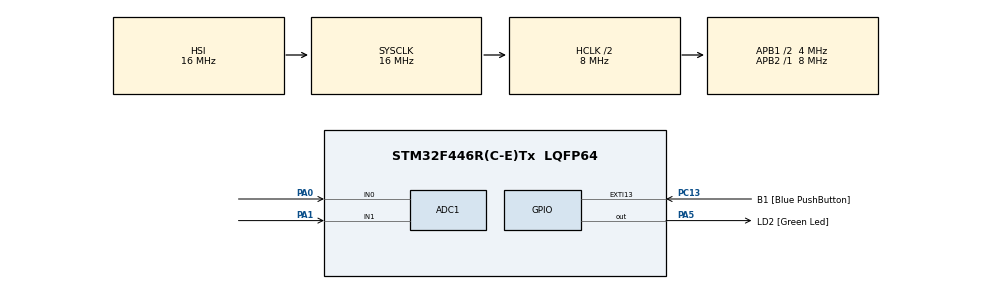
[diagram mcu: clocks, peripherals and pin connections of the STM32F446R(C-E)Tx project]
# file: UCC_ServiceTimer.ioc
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ADC1.Channel-1\#ChannelRegularConversion=ADC_CHANNEL_0
ADC1.ContinuousConvMode=DISABLE
ADC1.DiscontinuousConvMode=DISABLE
ADC1.EnableAnalogWatchDog=true
ADC1.InjNumberOfConversion=0
ADC1.NbrOfConversion=1
ADC1.NbrOfConversionFlag=1
ADC1.Rank-1\#ChannelRegularConversion=1
ADC1.SamplingTime-1\#ChannelRegularConversion=ADC_SAMPLETIME_3CYCLES
ADC1.ScanConvMode=ENABLE
ADC1.master=1
Mcu.Family=STM32F4
Mcu.Name=STM32F446R(C-E)Tx
Mcu.Package=LQFP64
NVIC.ADC_IRQn=true\:0\:0\:false\:false\:true\:true\:true\:true
NVIC.EXTI15_10_IRQn=true\:0\:0\:false\:false\:true\:true\:true\:true
NVIC.PriorityGroup=NVIC_PRIORITYGROUP_0
NVIC.TIM2_IRQn=true\:0\:0\:false\:false\:true\:true\:true\:true
PA0-WKUP.Signal=ADCx_IN0
PA1.Signal=ADCx_IN1
PA13.GPIO_Label=TMS
PA13.Mode=Serial_Wire
PA13.Signal=SYS_JTMS-SWDIO
PA14.GPIO_Label=TCK
PA14.Mode=Serial_Wire
PA14.Signal=SYS_JTCK-SWCLK
PA2.GPIO_Label=USART_TX
PA2.Signal=USART2_TX
PA3.GPIO_Label=USART_RX
PA3.Signal=USART2_RX
PA5.GPIO_Label=LD2 [Green Led]
PA5.Signal=GPIO_Output
PB3.GPIO_Label=SWO
PB3.Signal=SYS_JTDO-SWO
PC13.GPIO_Label=B1 [Blue PushButton]
PC13.GPIO_ModeDefaultEXTI=GPIO_MODE_IT_FALLING
PC13.Signal=GPXTI13
PC14-OSC32_IN.Signal=RCC_OSC32_IN
PC15-OSC32_OUT.Signal=RCC_OSC32_OUT
PH0-OSC_IN.Signal=RCC_OSC_IN
PH1-OSC_OUT.Signal=RCC_OSC_OUT
ProjectManager.HeapSize=0x200
ProjectManager.StackSize=0x400
ProjectManager.TargetToolchain=STM32CubeIDE
RCC.AHBCLKDivider=RCC_SYSCLK_DIV2
RCC.AHBFreq_Value=8000000
RCC.APB1CLKDivider=RCC_HCLK_DIV2
RCC.APB1Freq_Value=4000000
RCC.APB1TimFreq_Value=8000000
RCC.APB2Freq_Value=8000000
RCC.APB2TimFreq_Value=8000000
RCC.CortexFreq_Value=8000000
RCC.FLatency-AdvancedSettings=FLASH_LATENCY_0
RCC.HCLKFreq_Value=8000000
RCC.HSE_VALUE=8000000
RCC.HSI_VALUE=16000000
RCC.LSE_VALUE=32768
RCC.PLLN=336
RCC.PLLP=RCC_PLLP_DIV4
RCC.SYSCLKFreq_VALUE=16000000
RCC.USBFreq_Value=168000000
RCC.VCOOutputFreq_Value=336000000
SH.ADCx_IN0.0=ADC1_IN0,IN0
SH.ADCx_IN1.0=ADC1_IN1,IN1
TIM2.Channel-Output\ Compare1\ No\ Output=TIM_CHANNEL_1
TIM2.Prescaler=7
VP_TIM2_VS_ClockSourceINT.Mode=Internal
VP_TIM2_VS_no_output1.Mode=Output Compare1 No Output
board=NUCLEO-F446RE

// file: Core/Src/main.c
/* USER CODE BEGIN Header */
/**
  ******************************************************************************
  * @file           : main.c
  * @brief          : Main program body
  ******************************************************************************
  * @attention
  *
  * Copyright (c) 2026 STMicroelectronics.
  * All rights reserved.
  *
  * This software is licensed under terms that can be found in the LICENSE file
  * in the root directory of this software component.
  * If no LICENSE file comes with this software, it is provided AS-IS.
  *
  ******************************************************************************
  */
/* USER CODE END Header */
#include "main.h"
#include "adc.h"
#include "tim.h"
#include "gpio.h"

/* USER CODE BEGIN Includes */
#include "led.h"
/* USER CODE END Includes */

/* USER CODE BEGIN PV */
led_TypeDef ledVerde;
/* USER CODE END PV */

void SystemClock_Config(void);

int main(void)
{

  /* MCU Configuration--------------------------------------------------------*/

  /* Reset of all peripherals, Initializes the Flash interface and the Systick. */
  HAL_Init();

  /* Configure the system clock */
  SystemClock_Config();

  /* Initialize all configured peripherals */
  MX_GPIO_Init();
  MX_TIM2_Init();
  MX_ADC1_Init();
  /* USER CODE BEGIN 2 */

  HAL_TIM_Base_Start_IT(&htim2);
  HAL_TIM_OC_Start_IT(&htim2, TIM_CHANNEL_1);

  ledInit(&ledVerde, GPIOA, GPIO_PIN_5, LED_ON);
  /* USER CODE END 2 */

  /* Infinite loop */
  while (1)
  {

  }
}

void SystemClock_Config(void)
{
  RCC_OscInitTypeDef RCC_OscInitStruct = {0};
  RCC_ClkInitTypeDef RCC_ClkInitStruct = {0};

  /** Configure the main internal regulator output voltage
  */
  __HAL_RCC_PWR_CLK_ENABLE();
  __HAL_PWR_VOLTAGESCALING_CONFIG(PWR_REGULATOR_VOLTAGE_SCALE3);

  /** Initializes the RCC Oscillators according to the specified parameters
  * in the RCC_OscInitTypeDef structure.
  */
  RCC_OscInitStruct.OscillatorType = RCC_OSCILLATORTYPE_HSI;
  RCC_OscInitStruct.HSIState = RCC_HSI_ON;
  RCC_OscInitStruct.HSICalibrationValue = RCC_HSICALIBRATION_DEFAULT;
  RCC_OscInitStruct.PLL.PLLState = RCC_PLL_NONE;
  if (HAL_RCC_OscConfig(&RCC_OscInitStruct) != HAL_OK)
  {
    Error_Handler();
  }

  /** Initializes the CPU, AHB and APB buses clocks
  */
  RCC_ClkInitStruct.ClockType = RCC_CLOCKTYPE_HCLK|RCC_CLOCKTYPE_SYSCLK
                              |RCC_CLOCKTYPE_PCLK1|RCC_CLOCKTYPE_PCLK2;
  RCC_ClkInitStruct.SYSCLKSource = RCC_SYSCLKSOURCE_HSI;
  RCC_ClkInitStruct.AHBCLKDivider = RCC_SYSCLK_DIV2;
  RCC_ClkInitStruct.APB1CLKDivider = RCC_HCLK_DIV2;
  RCC_ClkInitStruct.APB2CLKDivider = RCC_HCLK_DIV1;

  if (HAL_RCC_ClockConfig(&RCC_ClkInitStruct, FLASH_LATENCY_0) != HAL_OK)
  {
    Error_Handler();
  }
}

/* USER CODE BEGIN 4 */

void HAL_TIM_PeriodElapsedCallback(TIM_HandleTypeDef *htim){

	static uint8_t cont100ms = 100;

	if(cont100ms){
		cont100ms--;
		if(!cont100ms){
			cont100ms = 100;

		}

	}

	ledService1msIsr();

}

void HAL_TIM_OC_DelayElapsedCallback(TIM_HandleTypeDef *htim){

}

void HAL_GPIO_EXTI_Callback(uint16_t GPIO_Pin){
	if (GPIO_Pin == B1_Pin){
		ledBlink_ms(&ledVerde, 1000);
	}
}

/* USER CODE END 4 */

void Error_Handler(void)
{
  __disable_irq();
  while (1)
  {
  }
}
